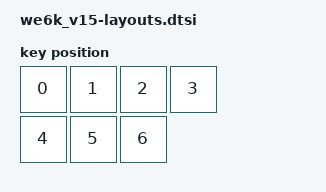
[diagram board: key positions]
/*
 * Copyright (c) 2021 The ZMK Contributors
 *
 * SPDX-License-Identifier: MIT
 */

#include <physical_layouts.dtsi>

/ {
    we6k_v15_physical_layout: we6k_v15_physical_layout {
        compatible = "zmk,physical-layout";
        display-name = "WE6K V1.5";

        /* 4 keys row0, 3 keys row1; order matches default_transform map */
        keys  //                     w   h    x    y     rot    rx    ry
            = <&key_physical_attrs 100 100    0    0       0     0     0>
            , <&key_physical_attrs 100 100  100    0       0     0     0>
            , <&key_physical_attrs 100 100  200    0       0     0     0>
            , <&key_physical_attrs 100 100  300    0       0     0     0>
            , <&key_physical_attrs 100 100    0  100       0     0     0>
            , <&key_physical_attrs 100 100  100  100       0     0     0>
            , <&key_physical_attrs 100 100  200  100       0     0     0>
            ;
    };
};
